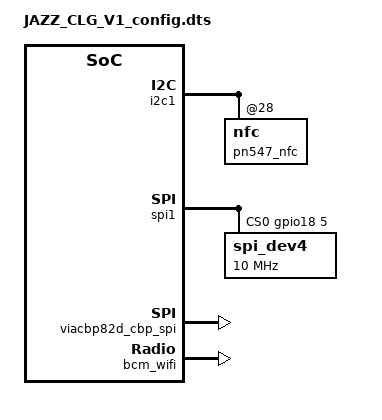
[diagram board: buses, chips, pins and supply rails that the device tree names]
/*
 * Hisilicon Ltd.
 *
 * A15x4 A7x4
 *
 * It is only a demo for hisilicon hi3630 board. You show change the
 * address of each node according to datasheet.
 */

/dts-v1/;

/include/ "huawei_ext_modem.dtsi"
/include/ "hisi_sim_hotplug.dtsi"

/include/ "JAZZ_ULG_V1_config.dtsi"
/include/ "hisi_3630_pin_JAZZ_CLG_V1.dtsi"
/include/ "hisi_3630_modem_JAZZ_CLG_V1.dtsi"
/ {
	board_info: board_info {
		hisi,boardid = <6 0 7>;
		hisi,boardname = "Jazz_CL+G_V1";
		hisi,modem_id = <0x3fbe4000>;
		hw,public;
	};
	amba {
		hisi_serial5: uart@fdf05000 {
			status = "disabled";
		};

		i2c1: i2c@FDF0A000 {
			pn547_nfc:nfc@28 {
					  nfc_nxp_name = "Jazz_CLG_V1_libnfc-nxp.conf";
					  hw,public="nfc_nxp_name";
			};
		};
		spi1: spi@fdf08000 {
		status = "ok";
		pinctrl-names = "default", "idle";
		pinctrl-0 = <&gpio146_pmx_func &gpio147_pmx_func &gpio148_pmx_func &gpio149_pmx_func
				 &gpio146_cfg_func &gpio147_cfg_func &gpio148_cfg_func &gpio149_cfg_func>;
		pinctrl-1 = <&gpio146_pmx_idle &gpio147_pmx_idle &gpio148_pmx_idle &gpio149_pmx_idle
				 &gpio146_cfg_idle &gpio147_cfg_idle &gpio148_cfg_idle &gpio149_cfg_idle>;
		#address-cells = <1>;
		#size-cells = <0>;
		cs-gpios = <&gpio18 5 0>;
		spi_dev4: spi_dev4@4 {
			compatible = "spi_dev4";
			spi-max-frequency = <10000000>;
			reg = <0>;
			pl022,com-mode = <2>; //2
			pl022,interface = <0>;
			pl022,rx-level-trig = <3>;
			pl022,tx-level-trig = <3>;
			pl022,ctrl-len = <7>;
			pl022,wait-state = <0>;
			pl022,duplex = <0>;
			pl022,slave-tx-disable = <0>;
			};
		};
	};
	viacbp82d_power:viacbp82d_power {
		status = "ok";
	};
	viacbp82d_cbp_spi:viacbp82d_cbp_spi {
		status = "ok";
	};
	bcm_wifi {
		wifi_nvram_name = "nvram4334_hw_jazz_clg.txt";
		wifi_fw_name = "fw_bcm4334_hw.bin";
		status = "ok";
	};
	sim0 {
		status = "ok";
	};
	sim1 {
		status = "ok";
	};
	audio_hal_config {
		aud_para = "JAZZ_CLG";
		soc_modem = "VIA_FIRST";
	};

	rnic_adapter:rnic_adapter {
		status = "ok";
	};

};
